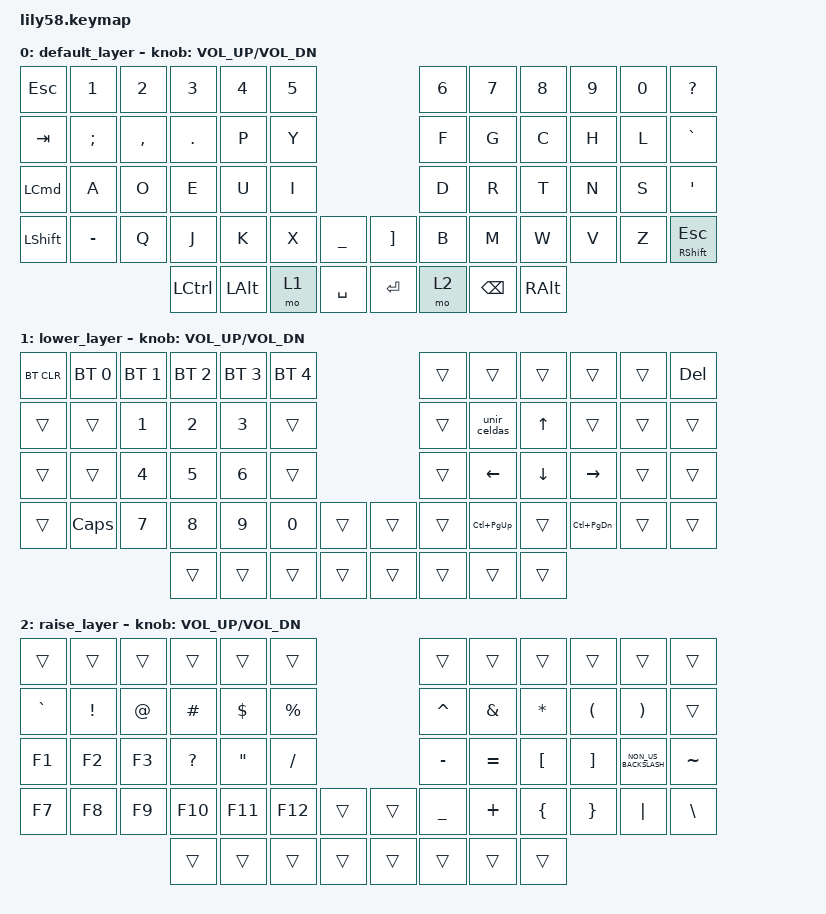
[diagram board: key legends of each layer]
/*
 * Copyright (c) 2020 The ZMK Contributors
 *
 * SPDX-License-Identifier: MIT
 */

#include <behaviors.dtsi>
#include <dt-bindings/zmk/bt.h>
#include <dt-bindings/zmk/keys.h>

/ {
    macros {
        unir_celdas: unir_celdas {
            compatible = "zmk,behavior-macro";
            #binding-cells = <0>;
            bindings = <&kp LS(LA(LG(J)))>;
            label = "UNIR_CELDAS";
        };
    };

    keymap {
        compatible = "zmk,keymap";

        default_layer {
            // ------------------------------------------------------------------------------------------------------------
            // |  ESC  |  1  |  2  |  3   |  4   |  5   |                   |  6   |  7    |  8    |  9   |   0   |   `   |
            // |  TAB  |  Q  |  W  |  E   |  R   |  T   |                   |  Y   |  U    |  I    |  O   |   P   |   -   |
            // |  CTRL |  A  |  S  |  D   |  F   |  G   |                   |  H   |  J    |  K    |  L   |   ;   |   '   |
            // | SHIFT |  Z  |  X  |  C   |  V   |  B   |   "["  |  |  "]"  |  N   |  M    |  ,    |  .   |   /   | SHIFT |
            //                     | ALT  | GUI  | LOWER|  SPACE |  | ENTER | RAISE| BSPC  | GUI   |

            bindings = <
&kp ESC           &kp N1         &kp N2     &kp N3      &kp N4        &kp N5                              &kp N6  &kp N7         &kp N8         &kp N9  &kp N0  &kp QUESTION
&kp TAB           &kp SEMICOLON  &kp COMMA  &kp PERIOD  &kp P         &kp Y                               &kp F   &kp G          &kp C          &kp H   &kp L   &kp GRAVE
&kp LEFT_COMMAND  &kp A          &kp O      &kp E       &kp U         &kp I                               &kp D   &kp R          &kp T          &kp N   &kp S   &kp SQT
&kp LSHFT         &kp MINUS      &kp Q      &kp J       &kp K         &kp X   &kp UNDERSCORE    &kp RBKT  &kp B   &kp M          &kp W          &kp V   &kp Z   &mt RSHIFT ESC
                                            &kp LCTRL   &kp LEFT_ALT  &mo 1   &kp SPACE         &kp RET   &mo 2   &kp BACKSPACE  &kp RIGHT_ALT
            >;

            sensor-bindings = <&inc_dec_kp C_VOL_UP C_VOL_DN>;
        };

        lower_layer {
            // ------------------------------------------------------------------------------------------------------------
            // | BTCLR | BT1 | BT2 |  BT3 |  BT4 |  BT5 |                   |      |       |       |      |       |       |
            // |  F1   |  F2 |  F3 |  F4  |  F5  |  F6  |                   |  F7  |  F8   |  F9   |  F10 |  F11  |  F12  |
            // |   `   |  !  |  @  |  #   |  $   |  %   |                   |  ^   |  &    |  *    |  (   |   )   |   ~   |
            // |       |     |     |      |      |      |        |  |       |      |  _    |  +    |  {   |   }   |  "|"  |
            //                     |      |      |      |        |  |       |      |       |       |

            bindings = <
&bt BT_CLR  &bt BT_SEL 0  &bt BT_SEL 1  &bt BT_SEL 2  &bt BT_SEL 3  &bt BT_SEL 4                    &trans  &trans           &trans          &trans             &trans  &kp DELETE
&trans      &trans        &kp NUMBER_1  &kp NUMBER_2  &kp NUMBER_3  &trans                          &trans  &unir_celdas     &kp UP_ARROW    &trans             &trans  &trans
&trans      &trans        &kp NUMBER_4  &kp N5        &kp NUMBER_6  &trans                          &trans  &kp LEFT_ARROW   &kp DOWN_ARROW  &kp RIGHT          &trans  &trans
&trans      &kp CAPSLOCK  &kp N7        &kp N8        &kp N9        &kp NUMBER_0  &trans    &trans  &trans  &kp LC(PAGE_UP)  &trans          &kp LC(PAGE_DOWN)  &trans  &trans
                                        &trans        &trans        &trans        &trans    &trans  &trans  &trans           &trans
            >;

            sensor-bindings = <&inc_dec_kp C_VOL_UP C_VOL_DN>;
        };

        raise_layer {
            // ------------------------------------------------------------------------------------------------------------
            // |       |     |     |      |      |      |                   |      |       |       |      |       |       |
            // |   `   |  1  |  2  |  3   |  4   |  5   |                   |  6   |   7   |   8   |  9   |   0   |       |
            // |   F1  |  F2 |  F3 |  F4  |  F5  |  F6  |                   |      |   <-  |   v   |  ^   |  ->   |       |
            // |   F7  |  F8 |  F9 |  F10 |  F11 |  F12 |        |  |       |  +   |   -   |   =   |  [   |   ]   |   \   |
            //                     |      |      |      |        |  |       |      |       |       |

            bindings = <
&trans     &trans           &trans       &trans        &trans             &trans                         &trans          &trans         &trans            &trans                &trans                 &trans
&kp GRAVE  &kp EXCLAMATION  &kp AT_SIGN  &kp HASH      &kp DOLLAR         &kp PERCENT                    &kp CARET       &kp AMPERSAND  &kp ASTERISK      &kp LEFT_PARENTHESIS  &kp RIGHT_PARENTHESIS  &trans
&kp F1     &kp F2           &kp F3       &kp QUESTION  &kp DOUBLE_QUOTES  &kp SLASH                      &kp MINUS       &kp EQUAL      &kp LEFT_BRACKET  &kp RIGHT_BRACKET     &kp NON_US_BACKSLASH   &kp TILDE
&kp F7     &kp F8           &kp F9       &kp F10       &kp F11            &kp F12      &trans    &trans  &kp UNDERSCORE  &kp PLUS       &kp LEFT_BRACE    &kp RIGHT_BRACE       &kp PIPE               &kp BSLH
                                         &trans        &trans             &trans       &trans    &trans  &trans          &trans         &trans
            >;

            sensor-bindings = <&inc_dec_kp C_VOL_UP C_VOL_DN>;
        };
    };
};
